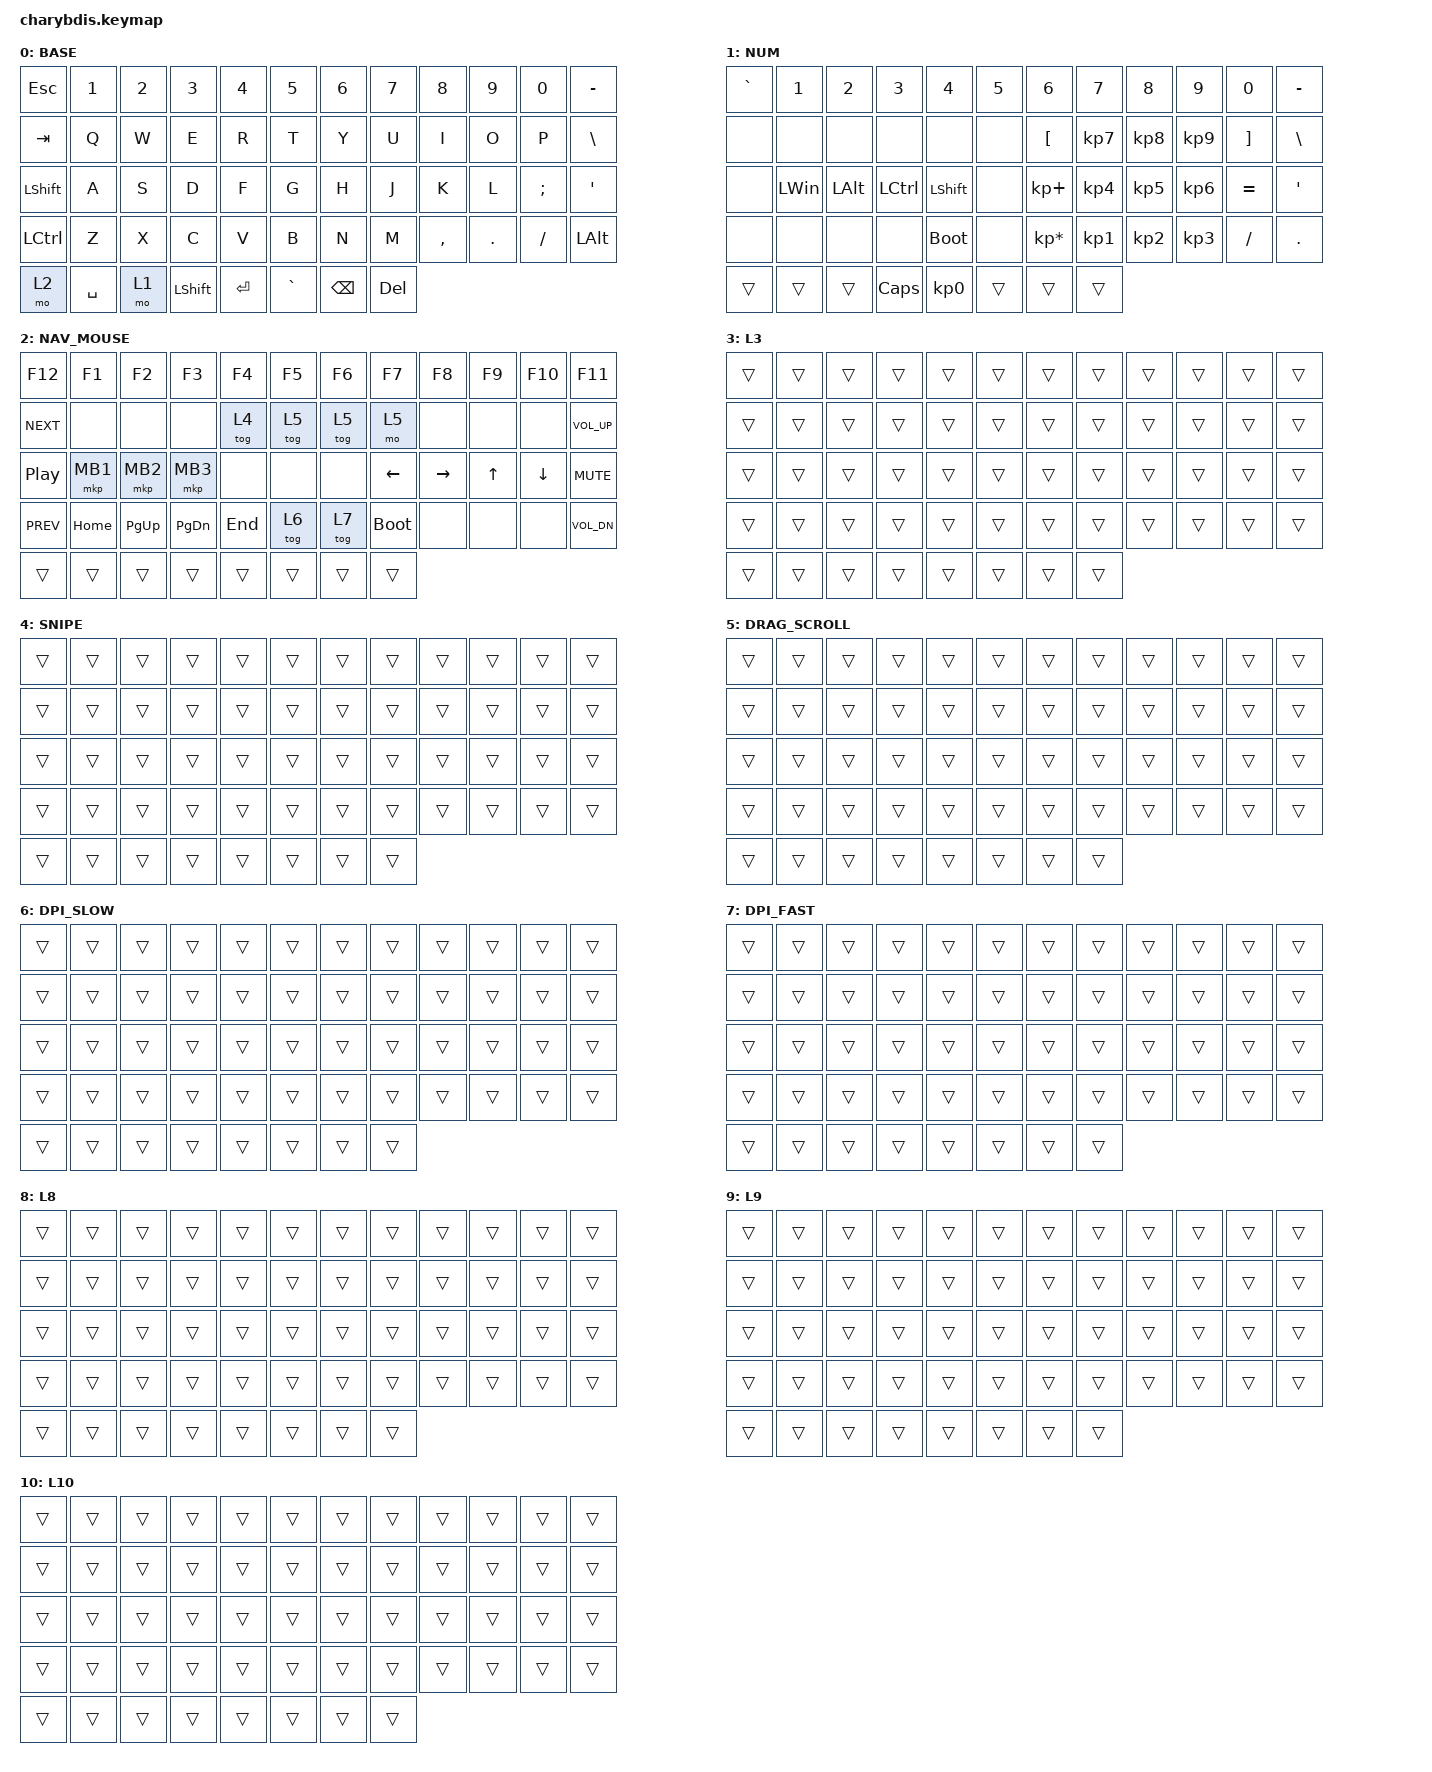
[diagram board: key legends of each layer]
#include <behaviors.dtsi>
#include <dt-bindings/zmk/keys.h>
#include <dt-bindings/zmk/bt.h>
#include <dt-bindings/zmk/mouse.h>

/ {
    behaviors {
        tsl_slow: behavior_trackball_scroll_slow {
            compatible = "zmk,behavior-point-device-incremental";
            label = "TRACKBALL_SCROLL_SLOW";
            #trackball-binding-cells = <0>;
            mode = "scroll-mode";
            flavor = "default";
            scale_mode = "dividor";
            scale_factor = <2>;
        };
    };

    keymap {
        compatible = "zmk,keymap";

        layer_0 {
            label = "BASE";
            bindings = <
                &kp ESC &kp N1 &kp N2 &kp N3 &kp N4 &kp N5 &kp N6 &kp N7 &kp N8 &kp N9 &kp N0 &kp MINUS
                &kp TAB &kp Q &kp W &kp E &kp R &kp T &kp Y &kp U &kp I &kp O &kp P &kp BSLH
                &kp LEFT_SHIFT &kp A &kp S &kp D &kp F &kp G &kp H &kp J &kp K &kp L &kp SEMI &kp SQT
                &kp LCTRL &kp Z &kp X &kp C &kp V &kp B &kp N &kp M &kp COMMA &kp DOT &kp SLASH &kp LEFT_ALT
                &mo 2 &kp SPACE &mo 1 &kp LEFT_SHIFT &kp RET &kp GRAVE &kp BSPC &kp DEL
            >;
            trackball-bindings = <&tmv_coarse>;
        };

        layer_1 {
            label = "NUM";
            bindings = <
                &kp GRAVE &kp N1 &kp N2 &kp N3 &kp N4 &kp N5 &kp N6 &kp N7 &kp N8 &kp N9 &kp N0 &kp MINUS
                &none &none &none &none &none &none &kp LBKT &kp KP_N7 &kp KP_N8 &kp KP_N9 &kp RBKT &kp BSLH
                &none &kp LWIN &kp LEFT_ALT &kp LCTRL &kp LEFT_SHIFT &none &kp KP_PLUS &kp KP_N4 &kp KP_N5 &kp KP_N6 &kp EQUAL &kp SQT
                &none &none &none &none &bootloader &none &kp KP_MULTIPLY &kp KP_N1 &kp KP_N2 &kp KP_N3 &kp SLASH &kp DOT
                &trans &trans &trans &kp CAPS &kp KP_N0 &trans &trans &trans
            >;
            trackball-bindings = <&tmv_coarse>;
        };

        layer_2 {
            label = "NAV_MOUSE";
            bindings = <
                &kp F12 &kp F1 &kp F2 &kp F3 &kp F4 &kp F5 &kp F6 &kp F7 &kp F8 &kp F9 &kp F10 &kp F11
                &kp C_NEXT &none &none &none &tog 4 &tog 5 &tog 5 &mo 5 &none &none &none &kp C_VOL_UP
                &kp C_PP &mkp MB1 &mkp MB2 &mkp MB3 &none &none &none &kp LEFT &kp RIGHT &kp UP &kp DOWN &kp C_MUTE
                &kp C_PREV &kp HOME &kp PG_UP &kp PG_DN &kp END &tog 6 &tog 7 &bootloader &none &none &none &kp C_VOL_DN
                &trans &trans &trans &trans &trans &trans &trans &trans
            >;
            trackball-bindings = <&tmv_coarse>;
        };

        layer_3 {
            label = "L3";
            bindings = <
                &trans &trans &trans &trans &trans &trans &trans &trans &trans &trans &trans &trans
                &trans &trans &trans &trans &trans &trans &trans &trans &trans &trans &trans &trans
                &trans &trans &trans &trans &trans &trans &trans &trans &trans &trans &trans &trans
                &trans &trans &trans &trans &trans &trans &trans &trans &trans &trans &trans &trans
                &trans &trans &trans &trans &trans &trans &trans &trans
            >;
            trackball-bindings = <&tmv_coarse>;
        };

        layer_4 {
            label = "SNIPE";
            bindings = <
                &trans &trans &trans &trans &trans &trans &trans &trans &trans &trans &trans &trans
                &trans &trans &trans &trans &trans &trans &trans &trans &trans &trans &trans &trans
                &trans &trans &trans &trans &trans &trans &trans &trans &trans &trans &trans &trans
                &trans &trans &trans &trans &trans &trans &trans &trans &trans &trans &trans &trans
                &trans &trans &trans &trans &trans &trans &trans &trans
            >;
            trackball-bindings = <&tmv_fine>;
        };

        layer_5 {
            label = "DRAG_SCROLL";
            bindings = <
                &trans &trans &trans &trans &trans &trans &trans &trans &trans &trans &trans &trans
                &trans &trans &trans &trans &trans &trans &trans &trans &trans &trans &trans &trans
                &trans &trans &trans &trans &trans &trans &trans &trans &trans &trans &trans &trans
                &trans &trans &trans &trans &trans &trans &trans &trans &trans &trans &trans &trans
                &trans &trans &trans &trans &trans &trans &trans &trans
            >;
            trackball-bindings = <&tsl_slow>;
        };

        layer_6 {
            label = "DPI_SLOW";
            bindings = <
                &trans &trans &trans &trans &trans &trans &trans &trans &trans &trans &trans &trans
                &trans &trans &trans &trans &trans &trans &trans &trans &trans &trans &trans &trans
                &trans &trans &trans &trans &trans &trans &trans &trans &trans &trans &trans &trans
                &trans &trans &trans &trans &trans &trans &trans &trans &trans &trans &trans &trans
                &trans &trans &trans &trans &trans &trans &trans &trans
            >;
            trackball-bindings = <&tmv_fine>;
        };

        layer_7 {
            label = "DPI_FAST";
            bindings = <
                &trans &trans &trans &trans &trans &trans &trans &trans &trans &trans &trans &trans
                &trans &trans &trans &trans &trans &trans &trans &trans &trans &trans &trans &trans
                &trans &trans &trans &trans &trans &trans &trans &trans &trans &trans &trans &trans
                &trans &trans &trans &trans &trans &trans &trans &trans &trans &trans &trans &trans
                &trans &trans &trans &trans &trans &trans &trans &trans
            >;
            trackball-bindings = <&tmv_coarse>;
        };

        layer_8 {
            label = "L8";
            bindings = <
                &trans &trans &trans &trans &trans &trans &trans &trans &trans &trans &trans &trans
                &trans &trans &trans &trans &trans &trans &trans &trans &trans &trans &trans &trans
                &trans &trans &trans &trans &trans &trans &trans &trans &trans &trans &trans &trans
                &trans &trans &trans &trans &trans &trans &trans &trans &trans &trans &trans &trans
                &trans &trans &trans &trans &trans &trans &trans &trans
            >;
            trackball-bindings = <&tmv_coarse>;
        };

        layer_9 {
            label = "L9";
            bindings = <
                &trans &trans &trans &trans &trans &trans &trans &trans &trans &trans &trans &trans
                &trans &trans &trans &trans &trans &trans &trans &trans &trans &trans &trans &trans
                &trans &trans &trans &trans &trans &trans &trans &trans &trans &trans &trans &trans
                &trans &trans &trans &trans &trans &trans &trans &trans &trans &trans &trans &trans
                &trans &trans &trans &trans &trans &trans &trans &trans
            >;
            trackball-bindings = <&tmv_coarse>;
        };

        layer_10 {
            label = "L10";
            bindings = <
                &trans &trans &trans &trans &trans &trans &trans &trans &trans &trans &trans &trans
                &trans &trans &trans &trans &trans &trans &trans &trans &trans &trans &trans &trans
                &trans &trans &trans &trans &trans &trans &trans &trans &trans &trans &trans &trans
                &trans &trans &trans &trans &trans &trans &trans &trans &trans &trans &trans &trans
                &trans &trans &trans &trans &trans &trans &trans &trans
            >;
            trackball-bindings = <&tmv_coarse>;
        };

    };
};
